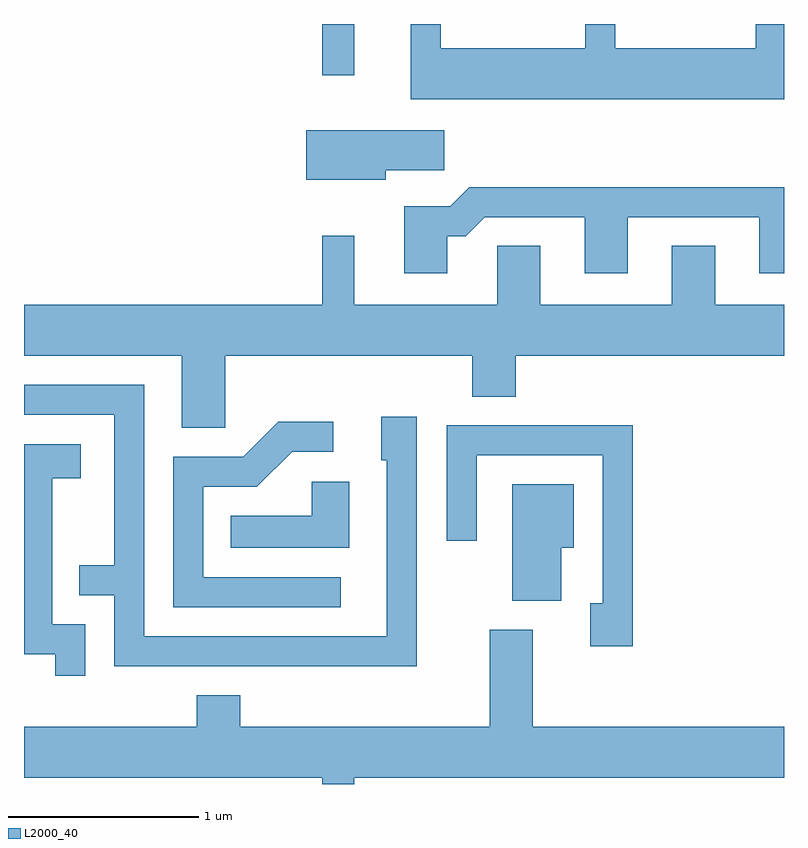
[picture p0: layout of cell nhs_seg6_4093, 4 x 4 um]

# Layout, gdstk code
import gdstk
lib = gdstk.Library(unit=1e-6, precision=1e-09)
def R(c, l, rs):  # rectangles x0, y0, x1, y1
    for r in rs: c.add(gdstk.rectangle(r[:2], r[2:], *l))
def P(c, l, *ps):  # polygons
    for p in ps: c.add(gdstk.Polygon(p, *l))
L2000_40 = (2000, 40)

nhs_seg6_4093 = lib.new_cell('nhs_seg6_4093')
R(nhs_seg6_4093, L2000_40, [(311.181,1615.893,311.349,1616.162)])
P(nhs_seg6_4093, L2000_40, [(313.611,1616.162),(313.461,1616.162),(313.461,1616.034),(312.724,1616.034),(312.724,1616.162),(312.566,1616.162),(312.566,1616.034),(311.804,1616.034),(311.804,1616.162),(311.646,1616.162),(311.646,1615.766),(313.611,1615.766)],
  [(311.514,1615.391),(311.824,1615.391),(311.824,1615.604),(311.096,1615.604),(311.096,1615.341),(311.514,1615.341)],
  [(311.839,1615.046),(311.937,1615.046),(312.037,1615.146),(312.561,1615.146),(312.561,1614.851),(312.789,1614.851),(312.789,1615.146),(313.481,1615.146),(313.481,1614.851),(313.611,1614.851),(313.611,1615.304),(311.954,1615.304),(311.854,1615.204),(311.611,1615.204),(311.611,1614.851),(311.839,1614.851)],
  [(310.669,1614.416),(311.971,1614.416),(311.971,1614.201),(312.199,1614.201),(312.199,1614.416),(313.611,1614.416),(313.611,1614.684),(313.249,1614.684),(313.249,1614.994),(313.021,1614.994),(313.021,1614.684),(312.329,1614.684),(312.329,1614.994),(312.101,1614.994),(312.101,1614.684),(311.349,1614.684),(311.349,1615.048),(311.181,1615.048),(311.181,1614.684),(309.611,1614.684),(309.611,1614.416),(310.441,1614.416),(310.441,1614.036),(310.669,1614.036)],
  [(311.679,1614.094),(311.491,1614.094),(311.491,1613.866),(311.521,1613.866),(311.521,1612.939),(310.244,1612.939),(310.244,1614.264),(309.611,1614.264),(309.611,1614.106),(310.086,1614.106),(310.086,1613.314),(309.903,1613.314),(309.903,1613.156),(310.086,1613.156),(310.086,1612.781),(311.679,1612.781)],
  [(311.278,1613.249),(310.554,1613.249),(310.554,1613.726),(310.837,1613.726),(311.022,1613.911),(311.238,1613.911),(311.238,1614.069),(310.949,1614.069),(310.764,1613.884),(310.396,1613.884),(310.396,1613.091),(311.278,1613.091)],
  [(312.814,1614.049),(311.836,1614.049),(311.836,1613.443),(311.994,1613.443),(311.994,1613.891),(312.656,1613.891),(312.656,1613.114),(312.591,1613.114),(312.591,1612.886),(312.814,1612.886)],
  [(309.934,1613.004),(309.759,1613.004),(309.759,1613.771),(309.909,1613.771),(309.909,1613.949),(309.611,1613.949),(309.611,1612.846),(309.776,1612.846),(309.776,1612.733),(309.934,1612.733)],
  [(311.324,1613.754),(311.126,1613.754),(311.126,1613.574),(310.698,1613.574),(310.698,1613.406),(311.324,1613.406)],
  [(312.439,1613.406),(312.504,1613.406),(312.504,1613.739),(312.181,1613.739),(312.181,1613.126),(312.439,1613.126)],
  [(311.349,1612.196),(313.611,1612.196),(313.611,1612.464),(312.289,1612.464),(312.289,1612.974),(312.061,1612.974),(312.061,1612.464),(310.749,1612.464),(310.749,1612.629),(310.521,1612.629),(310.521,1612.464),(309.611,1612.464),(309.611,1612.196),(311.181,1612.196),(311.181,1612.162),(311.349,1612.162)])

lib.write_gds('nhs_seg6_4093.gds')
